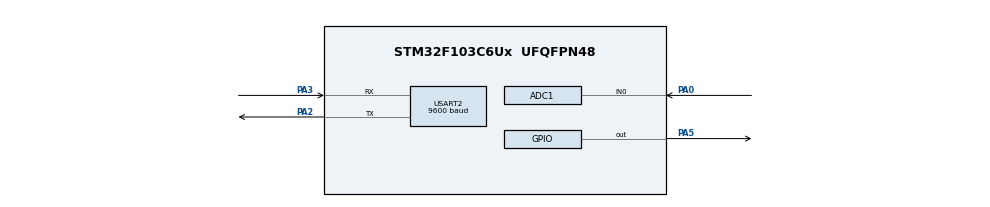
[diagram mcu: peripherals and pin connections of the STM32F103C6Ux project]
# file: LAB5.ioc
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ADC1.Channel-0\#ChannelRegularConversion=ADC_CHANNEL_0
ADC1.ContinuousConvMode=ENABLE
ADC1.NbrOfConversionFlag=1
ADC1.Rank-0\#ChannelRegularConversion=1
ADC1.SamplingTime-0\#ChannelRegularConversion=ADC_SAMPLETIME_1CYCLE_5
ADC1.master=1
Mcu.Family=STM32F1
Mcu.Name=STM32F103C6Ux
Mcu.Package=UFQFPN48
NVIC.ADC1_2_IRQn=true\:0\:0\:false\:false\:true\:true\:true
NVIC.PriorityGroup=NVIC_PRIORITYGROUP_4
NVIC.TIM2_IRQn=true\:0\:0\:false\:false\:true\:true\:true
NVIC.USART2_IRQn=true\:0\:0\:false\:false\:true\:true\:true
PA0-WKUP.Signal=ADCx_IN0
PA2.Mode=Asynchronous
PA2.Signal=USART2_TX
PA3.Mode=Asynchronous
PA3.Signal=USART2_RX
PA5.Signal=GPIO_Output
ProjectManager.HeapSize=0x200
ProjectManager.StackSize=0x400
ProjectManager.TargetToolchain=STM32CubeIDE
RCC.APB1Freq_Value=8000000
RCC.APB2Freq_Value=8000000
SH.ADCx_IN0.0=ADC1_IN0,IN0
TIM2.Period=9
TIM2.Prescaler=7999
USART2.BaudRate=9600
USART2.VirtualMode=VM_ASYNC
VP_SYS_VS_ND.Mode=No_Debug
VP_TIM2_VS_ClockSourceINT.Mode=Internal
board=custom

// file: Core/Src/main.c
/* USER CODE BEGIN Header */
/**
  ******************************************************************************
  * @file           : main.c
  * @brief          : Main program body
  ******************************************************************************
  * @attention
  *
  * <h2><center>&copy; Copyright (c) 2025 STMicroelectronics.
  * All rights reserved.</center></h2>
  *
  * This software component is licensed by ST under BSD 3-Clause license,
  * the "License"; You may not use this file except in compliance with the
  * License. You may obtain a copy of the License at:
  *                        opensource.org/licenses/BSD-3-Clause
  *
  ******************************************************************************
  */
/* USER CODE END Header */
#include "main.h"
#include "string.h"
#include "stdio.h"

/* USER CODE BEGIN PTD */

// STATE cho command parser
typedef enum {
  IDLE = 0,
  START_PROCESS,
  RECEIVE_O,
  RECEIVE_R,
  RECEIVE_S,
  RECEIVE_T,
  RECEIVE_K,
  START_SEND_DATA_SIGNAL,
  STOP_SEND_DATA_SIGNAL
} CommandParserState_t;

// STATE cho UART communication
typedef enum {
  COMMUNICATE_ERROR = 0,
  WAITING,
  TIME_OUT_STATE,
  START_SEND_DATA,
  STOP_SEND_DATA
} UartCommunicationState_t;

/* USER CODE END PTD */

/* USER CODE BEGIN PD */
#define MAX_BUFFER_SIZE  30

#define SET   1
#define RESET 0

#define TIMEOUT      3        // số bước timeout
#define TIMER_CYCLE 10        // ms, phải khớp với chu kỳ TIM2
/* USER CODE END PD */

ADC_HandleTypeDef hadc1;
TIM_HandleTypeDef htim2;
UART_HandleTypeDef huart2;

/* USER CODE BEGIN PV */
// UART byte tạm
uint8_t temp = 0;

// buffer UART
uint8_t  buffer[MAX_BUFFER_SIZE];
uint8_t  index_buffer = 0;
uint8_t  buffer_flag  = 0;

// ADC + chuỗi gửi
uint32_t ADC_value = 0;
char     string[50];

// tín hiệu giữa 2 FSM
uint8_t start_send_data = RESET;
uint8_t stop_send_data  = RESET;

// state của 2 FSM
CommandParserState_t     commandParserState     = IDLE;
UartCommunicationState_t uartCommunicationState = WAITING;
int timeout_counter = TIMEOUT;

// timer mềm
unsigned char timer1_flag = 0;
unsigned char timer2_flag = 0;
static int timer1_counter = 0;
static int timer2_counter = 0;
/* USER CODE END PV */

void SystemClock_Config(void);
static void MX_GPIO_Init(void);
static void MX_ADC1_Init(void);
static void MX_TIM2_Init(void);
static void MX_USART2_UART_Init(void);
/* USER CODE BEGIN PFP */
void command_parser_fsm(void);
void uart_communication_fsm(void);

void setTimer1(int duration_ms);
void setTimer2(int duration_ms);
void timer_run(void);
/* USER CODE END PFP */

/* USER CODE BEGIN 0 */

//-------------------- TIMER MỀM --------------------
void setTimer1(int duration_ms)
{
  timer1_counter = duration_ms / TIMER_CYCLE;
  if (timer1_counter <= 0) timer1_counter = 1;
  timer1_flag = 0;
}

void setTimer2(int duration_ms)
{
  timer2_counter = duration_ms / TIMER_CYCLE;
  if (timer2_counter <= 0) timer2_counter = 1;
  timer2_flag = 0;
}

void timer_run(void)
{
  if (timer1_counter > 0) {
    timer1_counter--;
    if (timer1_counter <= 0) timer1_flag = 1;
  }

  if (timer2_counter > 0) {
    timer2_counter--;
    if (timer2_counter <= 0) timer2_flag = 1;
  }
}

//-------------------- FSM PARSER --------------------
void command_parser_fsm(void)
{
  // Lấy byte mới nhất
  unsigned char bufferCheck;
  if (index_buffer == 0)
    bufferCheck = buffer[MAX_BUFFER_SIZE - 1];
  else
    bufferCheck = buffer[index_buffer - 1];

  switch (commandParserState)
  {
  case IDLE:
    if (bufferCheck == '!') commandParserState = START_PROCESS;
    break;

  case START_PROCESS:
    if (bufferCheck == 'O') commandParserState = RECEIVE_O;
    else if (bufferCheck == 'R') commandParserState = RECEIVE_R;
    else commandParserState = IDLE;
    break;

  // --- XỬ LÝ !RST# ---
  case RECEIVE_R:
    if (bufferCheck == 'S') commandParserState = RECEIVE_S;
    else commandParserState = IDLE;
    break;

  case RECEIVE_S:
    if (bufferCheck == 'T') commandParserState = RECEIVE_T;
    else commandParserState = IDLE;
    break;

  case RECEIVE_T:
    if (bufferCheck == '#') {
      start_send_data = 1;
      stop_send_data = 0;

      ADC_value = HAL_ADC_GetValue(&hadc1);
      sprintf(string, "!ADC=%lu#\r\n", (unsigned long)ADC_value);
      HAL_UART_Transmit(&huart2, (uint8_t*)string, strlen(string), 100);

      commandParserState = IDLE;
    } else {
      commandParserState = IDLE;
    }
    break;

  // --- XỬ LÝ !OK# ---
  case RECEIVE_O:
    if (bufferCheck == 'K') commandParserState = RECEIVE_K;
    else commandParserState = IDLE;
    break;

  case RECEIVE_K:
    if (bufferCheck == '#') {
      // Đã nhận đúng !OK# -> Dừng gửi
      start_send_data = 0;
      stop_send_data = 1;

      // Phản hồi STOP
      HAL_UART_Transmit(&huart2, (uint8_t *)"STOP\r\n", 6, 100);

      commandParserState = IDLE;
    } else {
      commandParserState = IDLE;
    }
    break;

  default:
    commandParserState = IDLE;
    break;
  }
}

void HAL_UART_RxCpltCallback(UART_HandleTypeDef *huart)
{
  if (huart->Instance == USART2) {
    HAL_GPIO_TogglePin(GPIOA, GPIO_PIN_5); // Nháy đèn để biết có nhận data

    buffer[index_buffer++] = temp;
    if (index_buffer >= MAX_BUFFER_SIZE) index_buffer = 0;

    buffer_flag = 1; // Báo hiệu cho Main loop

    HAL_UART_Receive_IT(&huart2, &temp, 1); // Tiếp tục nhận byte sau
  }
}

//-------------------- FSM UART COMMUNICATION --------------------
void uart_communication_fsm(void)
{
  switch (uartCommunicationState)
  {
  case WAITING:
    if (start_send_data == 1) {
      uartCommunicationState = START_SEND_DATA;
      setTimer2(50);
    }
    break;

  case START_SEND_DATA:
    if (stop_send_data == 1) {
      uartCommunicationState = STOP_SEND_DATA;
    }
    else if (timer2_flag == 1) {
//      ADC_value = HAL_ADC_GetValue(&hadc1);
      sprintf(string, "!ADC=%lu#\r\n", (unsigned long)ADC_value);
      HAL_UART_Transmit(&huart2, (uint8_t *)string, strlen(string), 100);

      setTimer2(3000);
    }
    break;

  case STOP_SEND_DATA:
    stop_send_data = 0;
    uartCommunicationState = WAITING;
    break;

  default:
    uartCommunicationState = WAITING;
    break;
  }
}

/* USER CODE END 0 */

int main(void)
{
  /* MCU Configuration--------------------------------------------------------*/

  HAL_Init();

  /* Configure the system clock */
  SystemClock_Config();

  /* Initialize all configured peripherals */
  MX_GPIO_Init();
  MX_ADC1_Init();
  MX_TIM2_Init();
  MX_USART2_UART_Init();

  /* USER CODE BEGIN 2 */
  // bật timer base interrupt
  HAL_TIM_Base_Start_IT(&htim2);

  // bật UART RX interrupt
  HAL_UART_Receive_IT(&huart2, &temp, 1);

  // bật ADC continuous
  HAL_ADC_Start(&hadc1);

  // init timer mềm
  setTimer1(1);
  setTimer2(50);
  /* USER CODE END 2 */

  /* Infinite loop */
  while (1)
  {
    // FSM parser – chỉ chạy khi có byte mới
    if (buffer_flag) {
      command_parser_fsm();
      buffer_flag = 0;
    }

    // FSM hệ thống – chạy liên tục
    uart_communication_fsm();
  }
}

void SystemClock_Config(void)
{
  RCC_OscInitTypeDef RCC_OscInitStruct = {0};
  RCC_ClkInitTypeDef RCC_ClkInitStruct = {0};
  RCC_PeriphCLKInitTypeDef PeriphClkInit = {0};

  /** Initializes the RCC Oscillators according to the specified parameters
  * in the RCC_OscInitTypeDef structure.
  */
  RCC_OscInitStruct.OscillatorType = RCC_OSCILLATORTYPE_HSI;
  RCC_OscInitStruct.HSIState = RCC_HSI_ON;
  RCC_OscInitStruct.HSICalibrationValue = RCC_HSICALIBRATION_DEFAULT;
  RCC_OscInitStruct.PLL.PLLState = RCC_PLL_NONE;
  if (HAL_RCC_OscConfig(&RCC_OscInitStruct) != HAL_OK)
  {
    Error_Handler();
  }
  /** Initializes the CPU, AHB and APB buses clocks
  */
  RCC_ClkInitStruct.ClockType = RCC_CLOCKTYPE_HCLK|RCC_CLOCKTYPE_SYSCLK
                              |RCC_CLOCKTYPE_PCLK1|RCC_CLOCKTYPE_PCLK2;
  RCC_ClkInitStruct.SYSCLKSource = RCC_SYSCLKSOURCE_HSI;
  RCC_ClkInitStruct.AHBCLKDivider = RCC_SYSCLK_DIV1;
  RCC_ClkInitStruct.APB1CLKDivider = RCC_HCLK_DIV1;
  RCC_ClkInitStruct.APB2CLKDivider = RCC_HCLK_DIV1;

  if (HAL_RCC_ClockConfig(&RCC_ClkInitStruct, FLASH_LATENCY_0) != HAL_OK)
  {
    Error_Handler();
  }
  PeriphClkInit.PeriphClockSelection = RCC_PERIPHCLK_ADC;
  PeriphClkInit.AdcClockSelection = RCC_ADCPCLK2_DIV2;
  if (HAL_RCCEx_PeriphCLKConfig(&PeriphClkInit) != HAL_OK)
  {
    Error_Handler();
  }
}

static void MX_ADC1_Init(void)
{
  ADC_ChannelConfTypeDef sConfig = {0};

  hadc1.Instance = ADC1;
  hadc1.Init.ScanConvMode = ADC_SCAN_DISABLE;
  hadc1.Init.ContinuousConvMode = ENABLE;
  hadc1.Init.DiscontinuousConvMode = DISABLE;
  hadc1.Init.ExternalTrigConv = ADC_SOFTWARE_START;
  hadc1.Init.DataAlign = ADC_DATAALIGN_RIGHT;
  hadc1.Init.NbrOfConversion = 1;
  if (HAL_ADC_Init(&hadc1) != HAL_OK)
  {
    Error_Handler();
  }

  sConfig.Channel = ADC_CHANNEL_0;
  sConfig.Rank = ADC_REGULAR_RANK_1;
  sConfig.SamplingTime = ADC_SAMPLETIME_1CYCLE_5;
  if (HAL_ADC_ConfigChannel(&hadc1, &sConfig) != HAL_OK)
  {
    Error_Handler();
  }
}

static void MX_TIM2_Init(void)
{
  TIM_ClockConfigTypeDef sClockSourceConfig = {0};
  TIM_MasterConfigTypeDef sMasterConfig = {0};

  htim2.Instance = TIM2;
  htim2.Init.Prescaler = 7999;
  htim2.Init.CounterMode = TIM_COUNTERMODE_UP;
  htim2.Init.Period = 9;
  htim2.Init.ClockDivision = TIM_CLOCKDIVISION_DIV1;
  htim2.Init.AutoReloadPreload = TIM_AUTORELOAD_PRELOAD_DISABLE;
  if (HAL_TIM_Base_Init(&htim2) != HAL_OK)
  {
    Error_Handler();
  }
  sClockSourceConfig.ClockSource = TIM_CLOCKSOURCE_INTERNAL;
  if (HAL_TIM_ConfigClockSource(&htim2, &sClockSourceConfig) != HAL_OK)
  {
    Error_Handler();
  }
  sMasterConfig.MasterOutputTrigger = TIM_TRGO_RESET;
  sMasterConfig.MasterSlaveMode = TIM_MASTERSLAVEMODE_DISABLE;
  if (HAL_TIMEx_MasterConfigSynchronization(&htim2, &sMasterConfig) != HAL_OK)
  {
    Error_Handler();
  }
}

static void MX_USART2_UART_Init(void)
{
  huart2.Instance = USART2;
  huart2.Init.BaudRate = 9600;  // terminal PC nhớ set 9600
  huart2.Init.WordLength = UART_WORDLENGTH_8B;
  huart2.Init.StopBits = UART_STOPBITS_1;
  huart2.Init.Parity = UART_PARITY_NONE;
  huart2.Init.Mode = UART_MODE_TX_RX;
  huart2.Init.HwFlowCtl = UART_HWCONTROL_NONE;
  huart2.Init.OverSampling = UART_OVERSAMPLING_16;
  if (HAL_UART_Init(&huart2) != HAL_OK)
  {
    Error_Handler();
  }
}

static void MX_GPIO_Init(void)
{
  GPIO_InitTypeDef GPIO_InitStruct = {0};

  __HAL_RCC_GPIOA_CLK_ENABLE();

  HAL_GPIO_WritePin(GPIOA, GPIO_PIN_5, GPIO_PIN_RESET);

  GPIO_InitStruct.Pin = GPIO_PIN_5;
  GPIO_InitStruct.Mode = GPIO_MODE_OUTPUT_PP;
  GPIO_InitStruct.Pull = GPIO_NOPULL;
  GPIO_InitStruct.Speed = GPIO_SPEED_FREQ_LOW;
  HAL_GPIO_Init(GPIOA, &GPIO_InitStruct);
}

/* USER CODE BEGIN 4 */
void HAL_TIM_PeriodElapsedCallback(TIM_HandleTypeDef *htim)
{
  if (htim->Instance == TIM2) {
    timer_run();
  }
}
/* USER CODE END 4 */

void Error_Handler(void)
{
  __disable_irq();
  while (1)
  {
  }
}
